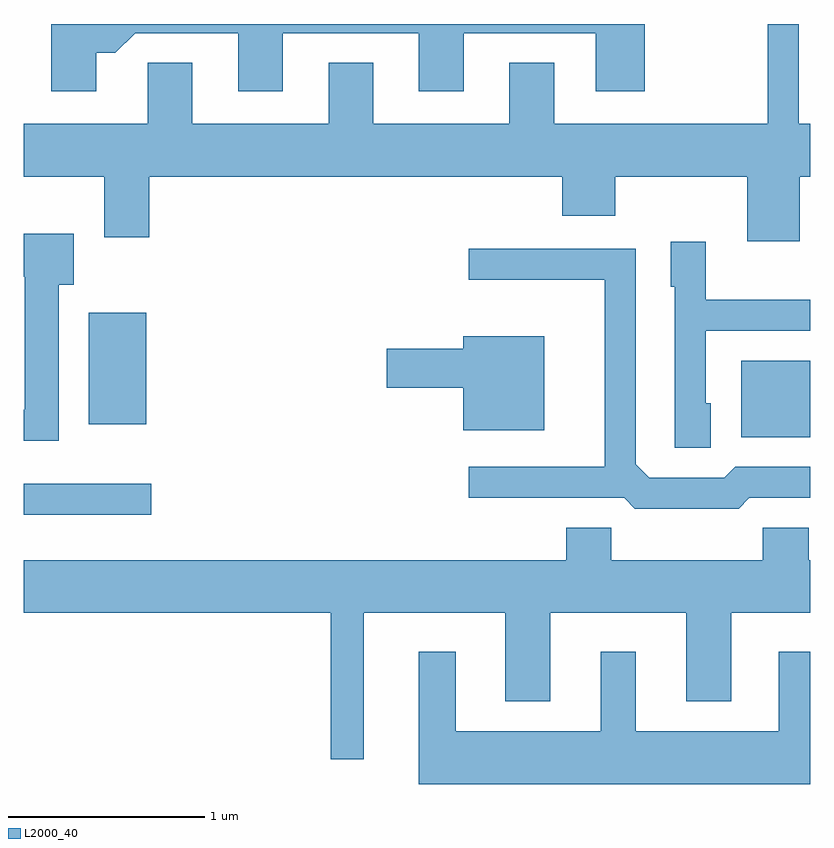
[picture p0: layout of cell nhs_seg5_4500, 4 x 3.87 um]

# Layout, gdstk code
import gdstk
lib = gdstk.Library(unit=1e-6, precision=1e-09)
def R(c, l, rs):  # rectangles x0, y0, x1, y1
    for r in rs: c.add(gdstk.rectangle(r[:2], r[2:], *l))
def P(c, l, *ps):  # polygons
    for p in ps: c.add(gdstk.Polygon(p, *l))
L2000_40 = (2000, 40)

nhs_seg5_4500 = lib.new_cell('nhs_seg5_4500')
R(nhs_seg5_4500, L2000_40, [(319.611,1399.576,320.258,1399.734), (323.261,1399.971,323.611,1400.359), (319.941,1400.036,320.234,1400.604)])
P(nhs_seg5_4500, L2000_40, [(323.559,1401.296),(323.611,1401.296),(323.611,1401.564),(323.554,1401.564),(323.554,1402.072),(323.396,1402.072),(323.396,1401.564),(322.309,1401.564),(322.309,1401.874),(322.081,1401.874),(322.081,1401.564),(321.389,1401.564),(321.389,1401.874),(321.161,1401.874),(321.161,1401.564),(320.469,1401.564),(320.469,1401.874),(320.241,1401.874),(320.241,1401.564),(319.611,1401.564),(319.611,1401.296),(320.021,1401.296),(320.021,1400.986),(320.249,1400.986),(320.249,1401.296),(322.351,1401.296),(322.351,1401.096),(322.619,1401.096),(322.619,1401.296),(323.291,1401.296),(323.291,1400.966),(323.559,1400.966)],
  [(319.979,1401.926),(320.077,1401.926),(320.177,1402.026),(320.701,1402.026),(320.701,1401.731),(320.929,1401.731),(320.929,1402.026),(321.621,1402.026),(321.621,1401.731),(321.849,1401.731),(321.849,1402.026),(322.521,1402.026),(322.521,1401.731),(322.769,1401.731),(322.769,1402.072),(319.751,1402.072),(319.751,1401.731),(319.979,1401.731)],
  [(319.789,1400.746),(319.864,1400.746),(319.864,1401.004),(319.611,1401.004),(319.611,1400.786),(319.616,1400.786),(319.616,1400.109),(319.611,1400.109),(319.611,1399.951),(319.789,1399.951)],
  [(323.104,1400.144),(323.079,1400.144),(323.079,1400.511),(323.611,1400.511),(323.611,1400.669),(323.079,1400.669),(323.079,1400.964),(322.901,1400.964),(322.901,1400.736),(322.921,1400.736),(322.921,1399.916),(323.104,1399.916)],
  [(323.302,1399.661),(323.611,1399.661),(323.611,1399.819),(323.229,1399.819),(323.174,1399.764),(322.792,1399.764),(322.724,1399.832),(322.724,1400.929),(321.873,1400.929),(321.873,1400.771),(322.566,1400.771),(322.566,1399.819),(321.873,1399.819),(321.873,1399.661),(322.664,1399.661),(322.719,1399.606),(323.247,1399.606)],
  [(322.259,1400.484),(321.846,1400.484),(321.846,1400.419),(321.456,1400.419),(321.456,1400.221),(321.846,1400.221),(321.846,1400.006),(322.259,1400.006)],
  [(321.339,1399.076),(322.061,1399.076),(322.061,1398.626),(322.289,1398.626),(322.289,1399.076),(322.981,1399.076),(322.981,1398.626),(323.209,1398.626),(323.209,1399.076),(323.611,1399.076),(323.611,1399.344),(323.604,1399.344),(323.604,1399.509),(323.371,1399.509),(323.371,1399.344),(322.599,1399.344),(322.599,1399.509),(322.371,1399.509),(322.371,1399.344),(319.611,1399.344),(319.611,1399.076),(321.171,1399.076),(321.171,1398.333),(321.339,1398.333)],
  [(323.611,1398.879),(323.451,1398.879),(323.451,1398.474),(322.724,1398.474),(322.724,1398.879),(322.546,1398.879),(322.546,1398.474),(321.809,1398.474),(321.809,1398.879),(321.621,1398.879),(321.621,1398.206),(323.611,1398.206)])

lib.write_gds('nhs_seg5_4500.gds')
